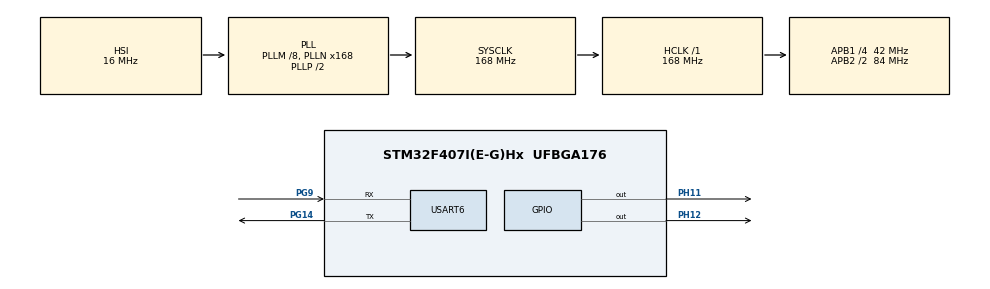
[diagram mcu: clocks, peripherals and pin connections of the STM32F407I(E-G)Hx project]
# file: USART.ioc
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Mcu.Family=STM32F4
Mcu.Name=STM32F407I(E-G)Hx
Mcu.Package=UFBGA176
NVIC.PriorityGroup=NVIC_PRIORITYGROUP_4
NVIC.USART6_IRQn=true\:0\:0\:false\:false\:true\:true\:true\:true
PA13.Mode=Serial_Wire
PA13.Signal=SYS_JTMS-SWDIO
PA14.Mode=Serial_Wire
PA14.Signal=SYS_JTCK-SWCLK
PG14.Mode=Asynchronous
PG14.Signal=USART6_TX
PG9.Mode=Asynchronous
PG9.Signal=USART6_RX
PH0-OSC_IN.Mode=HSE-External-Oscillator
PH0-OSC_IN.Signal=RCC_OSC_IN
PH1-OSC_OUT.Mode=HSE-External-Oscillator
PH1-OSC_OUT.Signal=RCC_OSC_OUT
PH11.PinState=GPIO_PIN_SET
PH11.Signal=GPIO_Output
PH12.PinState=GPIO_PIN_SET
PH12.Signal=GPIO_Output
ProjectManager.HeapSize=0x200
ProjectManager.StackSize=0x400
ProjectManager.TargetToolchain=CMake
RCC.48MHZClocksFreq_Value=84000000
RCC.AHBFreq_Value=168000000
RCC.APB1CLKDivider=RCC_HCLK_DIV4
RCC.APB1Freq_Value=42000000
RCC.APB1TimFreq_Value=84000000
RCC.APB2CLKDivider=RCC_HCLK_DIV2
RCC.APB2Freq_Value=84000000
RCC.APB2TimFreq_Value=168000000
RCC.CortexFreq_Value=168000000
RCC.HCLKFreq_Value=168000000
RCC.HSE_VALUE=12000000
RCC.HSI_VALUE=16000000
RCC.LSE_VALUE=32768
RCC.PLLM=8
RCC.PLLN=168
RCC.SYSCLKFreq_VALUE=168000000
RCC.SYSCLKSource=RCC_SYSCLKSOURCE_PLLCLK
RCC.VCOOutputFreq_Value=336000000
USART6.VirtualMode=VM_ASYNC
board=custom

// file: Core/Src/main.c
/* USER CODE BEGIN Header */
/**
  ******************************************************************************
  * @file           : main.c
  * @brief          : Main program body
  ******************************************************************************
  * @attention
  *
  * Copyright (c) 2026 STMicroelectronics.
  * All rights reserved.
  *
  * This software is licensed under terms that can be found in the LICENSE file
  * in the root directory of this software component.
  * If no LICENSE file comes with this software, it is provided AS-IS.
  *
  ******************************************************************************
  */
/* USER CODE END Header */
#include "main.h"

UART_HandleTypeDef huart6;

/* USER CODE BEGIN PV */
uint8_t message[2];
/* USER CODE END PV */

void SystemClock_Config(void);
static void MX_GPIO_Init(void);
static void MX_USART6_UART_Init(void);

int main(void)
{

  /* MCU Configuration--------------------------------------------------------*/

  /* Reset of all peripherals, Initializes the Flash interface and the Systick. */
  HAL_Init();

  /* Configure the system clock */
  SystemClock_Config();

  /* Initialize all configured peripherals */
  MX_GPIO_Init();
  MX_USART6_UART_Init();
  /* USER CODE BEGIN 2 */
  HAL_UART_Receive_IT(&huart6,message,2);

  /* USER CODE END 2 */

  /* Infinite loop */
  while (1)
  {

  }
}

void SystemClock_Config(void)
{
  RCC_OscInitTypeDef RCC_OscInitStruct = {0};
  RCC_ClkInitTypeDef RCC_ClkInitStruct = {0};

  /** Configure the main internal regulator output voltage
  */
  __HAL_RCC_PWR_CLK_ENABLE();
  __HAL_PWR_VOLTAGESCALING_CONFIG(PWR_REGULATOR_VOLTAGE_SCALE1);

  /** Initializes the RCC Oscillators according to the specified parameters
  * in the RCC_OscInitTypeDef structure.
  */
  RCC_OscInitStruct.OscillatorType = RCC_OSCILLATORTYPE_HSI;
  RCC_OscInitStruct.HSIState = RCC_HSI_ON;
  RCC_OscInitStruct.HSICalibrationValue = RCC_HSICALIBRATION_DEFAULT;
  RCC_OscInitStruct.PLL.PLLState = RCC_PLL_ON;
  RCC_OscInitStruct.PLL.PLLSource = RCC_PLLSOURCE_HSI;
  RCC_OscInitStruct.PLL.PLLM = 8;
  RCC_OscInitStruct.PLL.PLLN = 168;
  RCC_OscInitStruct.PLL.PLLP = RCC_PLLP_DIV2;
  RCC_OscInitStruct.PLL.PLLQ = 4;
  if (HAL_RCC_OscConfig(&RCC_OscInitStruct) != HAL_OK)
  {
    Error_Handler();
  }

  /** Initializes the CPU, AHB and APB buses clocks
  */
  RCC_ClkInitStruct.ClockType = RCC_CLOCKTYPE_HCLK|RCC_CLOCKTYPE_SYSCLK
                              |RCC_CLOCKTYPE_PCLK1|RCC_CLOCKTYPE_PCLK2;
  RCC_ClkInitStruct.SYSCLKSource = RCC_SYSCLKSOURCE_PLLCLK;
  RCC_ClkInitStruct.AHBCLKDivider = RCC_SYSCLK_DIV1;
  RCC_ClkInitStruct.APB1CLKDivider = RCC_HCLK_DIV4;
  RCC_ClkInitStruct.APB2CLKDivider = RCC_HCLK_DIV2;

  if (HAL_RCC_ClockConfig(&RCC_ClkInitStruct, FLASH_LATENCY_5) != HAL_OK)
  {
    Error_Handler();
  }
}

static void MX_USART6_UART_Init(void)
{

  huart6.Instance = USART6;
  huart6.Init.BaudRate = 115200;
  huart6.Init.WordLength = UART_WORDLENGTH_8B;
  huart6.Init.StopBits = UART_STOPBITS_1;
  huart6.Init.Parity = UART_PARITY_NONE;
  huart6.Init.Mode = UART_MODE_TX_RX;
  huart6.Init.HwFlowCtl = UART_HWCONTROL_NONE;
  huart6.Init.OverSampling = UART_OVERSAMPLING_16;
  if (HAL_UART_Init(&huart6) != HAL_OK)
  {
    Error_Handler();
  }

}

static void MX_GPIO_Init(void)
{
  GPIO_InitTypeDef GPIO_InitStruct = {0};

  /* GPIO Ports Clock Enable */
  __HAL_RCC_GPIOG_CLK_ENABLE();
  __HAL_RCC_GPIOA_CLK_ENABLE();
  __HAL_RCC_GPIOH_CLK_ENABLE();

  /*Configure GPIO pin Output Level */
  HAL_GPIO_WritePin(GPIOH, GPIO_PIN_12|GPIO_PIN_11, GPIO_PIN_SET);

  /*Configure GPIO pins : PH12 PH11 */
  GPIO_InitStruct.Pin = GPIO_PIN_12|GPIO_PIN_11;
  GPIO_InitStruct.Mode = GPIO_MODE_OUTPUT_PP;
  GPIO_InitStruct.Pull = GPIO_NOPULL;
  GPIO_InitStruct.Speed = GPIO_SPEED_FREQ_LOW;
  HAL_GPIO_Init(GPIOH, &GPIO_InitStruct);

}

/* USER CODE BEGIN 4 */
void HAL_UART_RxCpltCallback(UART_HandleTypeDef *huart)
{
  if (huart->Instance == USART6)
  {
    HAL_UART_Transmit(&huart6,message,2,100);
    if (message[0] == 'R')
    {
      if (message[1] == '1')
      {
        HAL_GPIO_WritePin(GPIOH, GPIO_PIN_12, GPIO_PIN_SET);
      }
      else if (message[1] == '0')
      {
        HAL_GPIO_WritePin(GPIOH, GPIO_PIN_12, GPIO_PIN_RESET);
      }
    }
    else if (message[0] == 'G')
    {
      if (message[1] == '1')
      {
        HAL_GPIO_WritePin(GPIOH, GPIO_PIN_11, GPIO_PIN_SET);
      }
      else if (message[1] == '0')
      {
        HAL_GPIO_WritePin(GPIOH, GPIO_PIN_11, GPIO_PIN_RESET);
      }
    }
    HAL_UART_Receive_IT(&huart6,message,2);
  }
}
/* USER CODE END 4 */

void Error_Handler(void)
{
  __disable_irq();
  while (1)
  {
  }
}
